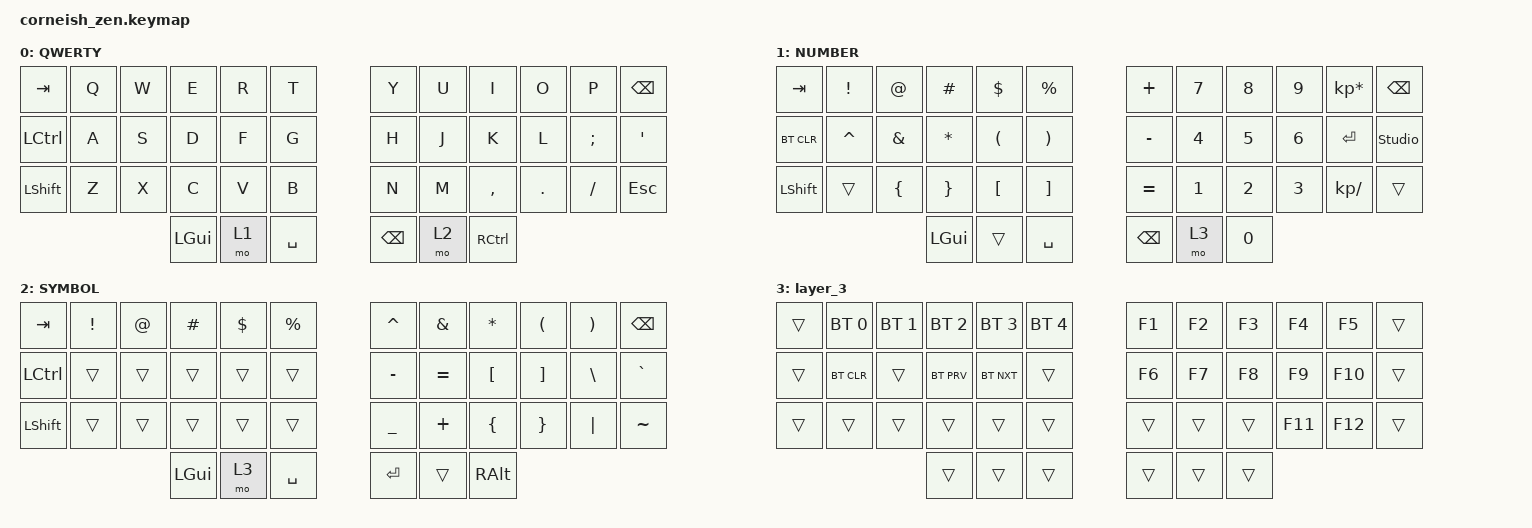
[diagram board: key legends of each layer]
#include <behaviors.dtsi>
#include <dt-bindings/zmk/bt.h>
#include <dt-bindings/zmk/keys.h>

/ {
    chosen {
        // zmk,physical-layout = &foostan_corne_6col_layout;

        zmk,physical-layout = &foostan_corne_5col_layout;
    };
};

/ {
    keymap {
        compatible = "zmk,keymap";

        default_layer {
            display-name = "QWERTY";

            // --------------------------------------------------------------------------------
            // |  TAB |  Q  |  W  |  E  |  R  |  T  |   |  Y  |  U   |  I  |  O  |  P  | BSPC |
            // | CTRL |  A  |  S  |  D  |  F  |  G  |   |  H  |  J   |  K  |  L  |  ;  |  '   |
            // | SHFT |  Z  |  X  |  C  |  V  |  B  |   |  N  |  M   |  ,  |  .  |  /  | ESC  |
            //                    | GUI | LWR | SPC |   | ENT | RSE  | ALT |

            bindings = <
&kp TAB    &kp Q  &kp W  &kp E     &kp R  &kp T        &kp Y          &kp U  &kp I              &kp O    &kp P     &kp BSPC
&kp LCTRL  &kp A  &kp S  &kp D     &kp F  &kp G        &kp H          &kp J  &kp K              &kp L    &kp SEMI  &kp SQT
&kp LSHFT  &kp Z  &kp X  &kp C     &kp V  &kp B        &kp N          &kp M  &kp COMMA          &kp DOT  &kp FSLH  &kp ESC
                         &kp LGUI  &mo 1  &kp SPACE    &kp BACKSPACE  &mo 2  &kp RIGHT_CONTROL
            >;
        };

        lower_layer {
            display-name = "NUMBER";

            // -----------------------------------------------------------------------------------------
            // |  TAB |  1  |  2  |  3  |  4  |  5  |   |  6  |  7  |  8  |  9  |  0  | BSPC |
            // | BTCLR| BT1 | BT2 | BT3 | BT4 | BT5 |   | LFT | DWN |  UP | RGT |     |Studio|
            // | SHFT |     |     |     |     |     |   |     |     |     |     |     |      |
            //                    | GUI |     | SPC |   | ENT |     | ALT |

            bindings = <
&kp TAB     &kp EXCLAMATION  &kp AT_SIGN     &kp HASH         &kp DOLLAR            &kp PERCENT              &kp PLUS       &kp N7        &kp N8        &kp N9        &kp KP_MULTIPLY  &kp BSPC
&bt BT_CLR  &kp CARET        &kp AMPERSAND   &kp ASTERISK     &kp LEFT_PARENTHESIS  &kp RIGHT_PARENTHESIS    &kp MINUS      &kp NUMBER_4  &kp N5        &kp NUMBER_6  &kp ENTER        &studio_unlock
&kp LSHFT   &trans           &kp LEFT_BRACE  &kp RIGHT_BRACE  &kp LEFT_BRACKET      &kp RIGHT_BRACKET        &kp EQUAL      &kp NUMBER_1  &kp NUMBER_2  &kp NUMBER_3  &kp KP_DIVIDE    &trans
                                             &kp LGUI         &trans                &kp SPACE                &kp BACKSPACE  &mo 3         &kp N0
            >;
        };

        raise_layer {
            display-name = "SYMBOL";

            // -----------------------------------------------------------------------------------------
            // |  TAB |  !  |  @  |  #  |  $  |  %  |   |  ^  |  &  |  *  |  (  |  )  | BSPC |
            // | CTRL |     |     |     |     |     |   |  -  |  =  |  [  |  ]  |  \  |  `   |
            // | SHFT |     |     |     |     |     |   |  _  |  +  |  {  |  }  | "|" |  ~   |
            //                    | GUI |     | SPC |   | ENT |     | ALT |

            bindings = <
&kp TAB    &kp EXCL  &kp AT  &kp HASH  &kp DLLR  &kp PRCNT    &kp CARET  &kp AMPS   &kp ASTRK  &kp LPAR  &kp RPAR  &kp BSPC
&kp LCTRL  &trans    &trans  &trans    &trans    &trans       &kp MINUS  &kp EQUAL  &kp LBKT   &kp RBKT  &kp BSLH  &kp GRAVE
&kp LSHFT  &trans    &trans  &trans    &trans    &trans       &kp UNDER  &kp PLUS   &kp LBRC   &kp RBRC  &kp PIPE  &kp TILDE
                             &kp LGUI  &mo 3     &kp SPACE    &kp RET    &trans     &kp RALT
            >;
        };

        layer_3 {
            bindings = <
&trans  &bt BT_SEL 0  &bt BT_SEL 1  &bt BT_SEL 2  &bt BT_SEL 3  &bt BT_SEL 4    &kp F1  &kp F2  &kp F3  &kp F4   &kp F5   &trans
&trans  &bt BT_CLR    &trans        &bt BT_PRV    &bt BT_NXT    &trans          &kp F6  &kp F7  &kp F8  &kp F9   &kp F10  &trans
&trans  &trans        &trans        &trans        &trans        &trans          &trans  &trans  &trans  &kp F11  &kp F12  &trans
                                    &trans        &trans        &trans          &trans  &trans  &trans
            >;
        };
    };
};
